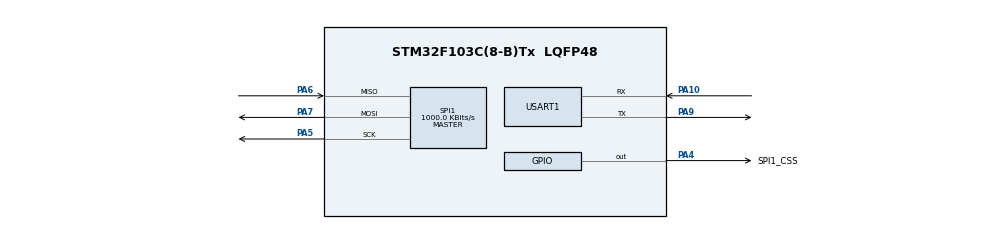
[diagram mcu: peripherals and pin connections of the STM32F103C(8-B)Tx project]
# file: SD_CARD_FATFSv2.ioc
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FATFS._USE_FASTSEEK=0
FATFS._USE_LFN=1
FATFS._USE_MKFS=0
FATFS._USE_STRFUNC=1
Mcu.Family=STM32F1
Mcu.Name=STM32F103C(8-B)Tx
Mcu.Package=LQFP48
NVIC.PriorityGroup=NVIC_PRIORITYGROUP_4
NVIC.TIM1_UP_IRQn=true\:0\:0\:false\:false\:true\:true\:true
PA10.Mode=Asynchronous
PA10.Signal=USART1_RX
PA13.Mode=Serial_Wire
PA13.Signal=SYS_JTMS-SWDIO
PA14.Mode=Serial_Wire
PA14.Signal=SYS_JTCK-SWCLK
PA4.GPIO_Label=SPI1_CSS
PA4.Signal=GPIO_Output
PA5.Mode=Full_Duplex_Master
PA5.Signal=SPI1_SCK
PA6.Mode=Full_Duplex_Master
PA6.Signal=SPI1_MISO
PA7.Mode=Full_Duplex_Master
PA7.Signal=SPI1_MOSI
PA9.Mode=Asynchronous
PA9.Signal=USART1_TX
PD0-OSC_IN.Mode=HSE-External-Oscillator
PD0-OSC_IN.Signal=RCC_OSC_IN
PD1-OSC_OUT.Mode=HSE-External-Oscillator
PD1-OSC_OUT.Signal=RCC_OSC_OUT
ProjectManager.HeapSize=0x200
ProjectManager.StackSize=0x400
ProjectManager.TargetToolchain=EWARM V8.32
RCC.APB1Freq_Value=8000000
RCC.APB2Freq_Value=8000000
RCC.SYSCLKSource=RCC_SYSCLKSOURCE_HSE
SPI1.BaudRatePrescaler=SPI_BAUDRATEPRESCALER_8
SPI1.CalculateBaudRate=1000.0 KBits/s
SPI1.Direction=SPI_DIRECTION_2LINES
SPI1.Mode=SPI_MODE_MASTER
SPI1.VirtualType=VM_MASTER
TIM1.Period=7999
USART1.VirtualMode=VM_ASYNC
VP_FATFS_VS_Generic.Mode=User_defined
VP_TIM1_VS_ClockSourceINT.Mode=Internal
board=custom

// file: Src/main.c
/* USER CODE BEGIN Header */
/**
  ******************************************************************************
  * @file           : main.c
  * @brief          : Main program body
  ******************************************************************************
  * @attention
  *
  * <h2><center>&copy; Copyright (c) 2020 STMicroelectronics.
  * All rights reserved.</center></h2>
  *
  * This software component is licensed by ST under Ultimate Liberty license
  * SLA0044, the "License"; You may not use this file except in compliance with
  * the License. You may obtain a copy of the License at:
  *                             www.st.com/SLA0044
  *
  ******************************************************************************
  */
/* USER CODE END Header */

#include "main.h"
#include "fatfs.h"
#include "spi.h"
#include "tim.h"
#include "usart.h"
#include "gpio.h"

void SystemClock_Config(void);
/* USER CODE BEGIN PFP */
DSTATUS USER_initialize (BYTE pdrv);            //проверка
DRESULT USER_write (
	BYTE pdrv,          /* Physical drive nmuber to identify the drive */
	const BYTE *buff,   /* Data to be written */
	DWORD sector,       /* Sector address in LBA */
	UINT count          /* Number of sectors to write */
);
DRESULT USER_read (
	BYTE pdrv,      /* Physical drive nmuber to identify the drive */
	BYTE *buff,     /* Data buffer to store read data */
	DWORD sector,   /* Sector address in LBA */
	UINT count      /* Number of sectors to read */
);
/* USER CODE END PFP */

/* USER CODE BEGIN 0 */
  FRESULT res = FR_INVALID_PARAMETER;
/* USER CODE END 0 */

int main(void)
{
  /* USER CODE BEGIN 1 */
  UINT writtenBytes = 0; //количество байт, записанных функцией f_write(...)
  UINT readBytes = 0; //количество байт, прочитанных функцией f_read(...)
  /* USER CODE END 1 */

  /* MCU Configuration--------------------------------------------------------*/

  /* Reset of all peripherals, Initializes the Flash interface and the Systick. */
  HAL_Init();

  /* Configure the system clock */
  SystemClock_Config();

  /* Initialize all configured peripherals */
  MX_GPIO_Init();
  MX_SPI1_Init();
  MX_TIM1_Init();
  MX_USART1_UART_Init();
  MX_FATFS_Init();
  /* USER CODE BEGIN 2 */
  HAL_TIM_Base_Start_IT(&htim1);
  //uint8_t x = 0x34;
  //HAL_UART_Transmit(&huart1, (uint8_t*) &(x), 1, 0x1000);
  //USER_initialize(0);
  //uint8_t arraySend[512] = "Qwertyuiopasdfghjk";
  //uint8_t arraySend[512] = {0};
  uint8_t arraySend[] = "12345 send words";

  /* Это для низкоуровневых функций (без FATFS)*/
  /*USER_write (0, arraySend, 0x0400, 1);
  HAL_Delay(100);
  for (uint16_t i = 0; i < 512; i++) arraySend[i] = 0;
  USER_read (0, arraySend, 0x0400, 1);
  HAL_UART_Transmit(&huart1, arraySend, 18, 0x1000);*/

  res = f_mount(&USERFatFS, "", 0);
  res = f_open(&USERFile, "res.txt", FA_OPEN_ALWAYS | FA_WRITE | FA_READ);
  res = f_write(&USERFile, arraySend, sizeof(arraySend), &writtenBytes);
  res = f_lseek(&USERFile, 0); //указатель на начало файла
  for (uint16_t i = 0; i < 512; i++) arraySend[i] = 0;
  res = f_read(&USERFile, arraySend, sizeof(arraySend), &readBytes);
  f_close(&USERFile);
  f_mount(0, "0:", 0);  //размонтировать файловую систему
  HAL_UART_Transmit(&huart1, arraySend, readBytes, 0x1000);
  /* USER CODE END 2 */

  /* Infinite loop */
  while (1)
  {

  }
}

void SystemClock_Config(void)
{
  RCC_OscInitTypeDef RCC_OscInitStruct = {0};
  RCC_ClkInitTypeDef RCC_ClkInitStruct = {0};

  /** Initializes the CPU, AHB and APB busses clocks
  */
  RCC_OscInitStruct.OscillatorType = RCC_OSCILLATORTYPE_HSE;
  RCC_OscInitStruct.HSEState = RCC_HSE_ON;
  RCC_OscInitStruct.PLL.PLLState = RCC_PLL_NONE;
  if (HAL_RCC_OscConfig(&RCC_OscInitStruct) != HAL_OK)
  {
    Error_Handler();
  }
  /** Initializes the CPU, AHB and APB busses clocks
  */
  RCC_ClkInitStruct.ClockType = RCC_CLOCKTYPE_HCLK|RCC_CLOCKTYPE_SYSCLK
                              |RCC_CLOCKTYPE_PCLK1|RCC_CLOCKTYPE_PCLK2;
  RCC_ClkInitStruct.SYSCLKSource = RCC_SYSCLKSOURCE_HSE;
  RCC_ClkInitStruct.AHBCLKDivider = RCC_SYSCLK_DIV1;
  RCC_ClkInitStruct.APB1CLKDivider = RCC_HCLK_DIV1;
  RCC_ClkInitStruct.APB2CLKDivider = RCC_HCLK_DIV1;

  if (HAL_RCC_ClockConfig(&RCC_ClkInitStruct, FLASH_LATENCY_0) != HAL_OK)
  {
    Error_Handler();
  }
}

void Error_Handler(void)
{
}

/************************ (C) COPYRIGHT STMicroelectronics *****END OF FILE****/
